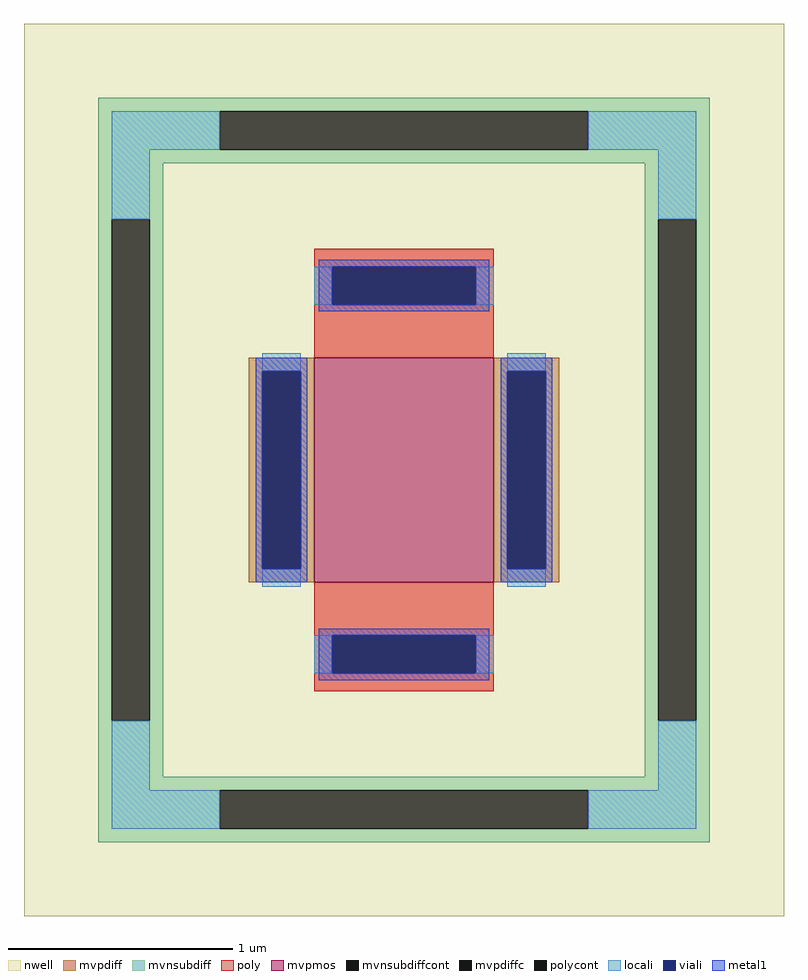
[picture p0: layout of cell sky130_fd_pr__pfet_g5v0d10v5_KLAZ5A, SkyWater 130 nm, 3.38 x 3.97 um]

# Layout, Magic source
magic
tech sky130A
magscale 1 2
<< nwell >>
rect -338 -397 338 397
<< mvpmos >>
rect -80 -100 80 100
<< mvpdiff >>
rect -138 88 -80 100
rect -138 -88 -126 88
rect -92 -88 -80 88
rect -138 -100 -80 -88
rect 80 88 138 100
rect 80 -88 92 88
rect 126 -88 138 88
rect 80 -100 138 -88
<< mvpdiffc >>
rect -126 -88 -92 88
rect 92 -88 126 88
<< mvnsubdiff >>
rect -272 319 272 331
rect -272 285 -164 319
rect 164 285 272 319
rect -272 273 272 285
rect -272 223 -214 273
rect -272 -223 -260 223
rect -226 -223 -214 223
rect 214 223 272 273
rect -272 -273 -214 -223
rect 214 -223 226 223
rect 260 -223 272 223
rect 214 -273 272 -223
rect -272 -285 272 -273
rect -272 -319 -164 -285
rect 164 -319 272 -285
rect -272 -331 272 -319
<< mvnsubdiffcont >>
rect -164 285 164 319
rect -260 -223 -226 223
rect 226 -223 260 223
rect -164 -319 164 -285
<< poly >>
rect -80 181 80 197
rect -80 147 -64 181
rect 64 147 80 181
rect -80 100 80 147
rect -80 -147 80 -100
rect -80 -181 -64 -147
rect 64 -181 80 -147
rect -80 -197 80 -181
<< polycont >>
rect -64 147 64 181
rect -64 -181 64 -147
<< locali >>
rect -260 285 -164 319
rect 164 285 260 319
rect -260 223 -226 285
rect 226 223 260 285
rect -80 147 -64 181
rect 64 147 80 181
rect -126 88 -92 104
rect -126 -104 -92 -88
rect 92 88 126 104
rect 92 -104 126 -88
rect -80 -181 -64 -147
rect 64 -181 80 -147
rect -260 -285 -226 -223
rect 226 -285 260 -223
rect -260 -319 -164 -285
rect 164 -319 260 -285
<< viali >>
rect -64 147 64 181
rect -126 -88 -92 88
rect 92 -88 126 88
rect -64 -181 64 -147
<< metal1 >>
rect -76 181 76 187
rect -76 147 -64 181
rect 64 147 76 181
rect -76 141 76 147
rect -132 88 -86 100
rect -132 -88 -126 88
rect -92 -88 -86 88
rect -132 -100 -86 -88
rect 86 88 132 100
rect 86 -88 92 88
rect 126 -88 132 88
rect 86 -100 132 -88
rect -76 -147 76 -141
rect -76 -181 -64 -147
rect 64 -181 76 -147
rect -76 -187 76 -181
<< properties >>
string FIXED_BBOX -243 -302 243 302
string gencell sky130_fd_pr__pfet_g5v0d10v5
string library sky130
string parameters w 1.0 l 0.8 m 1 nf 1 diffcov 100 polycov 100 guard 1 glc 1 grc 1 gtc 1 gbc 1 tbcov 100 rlcov 100 topc 1 botc 1 poverlap 0 doverlap 1 lmin 0.50 wmin 0.42 compatible {sky130_fd_pr__pfet_01v8  sky130_fd_pr__pfet_01v8_lvt sky130_fd_pr__pfet_01v8_hvt  sky130_fd_pr__pfet_g5v0d10v5} full_metal 1 viasrc 100 viadrn 100 viagate 100 viagb 0 viagr 0 viagl 0 viagt 0
<< end >>
